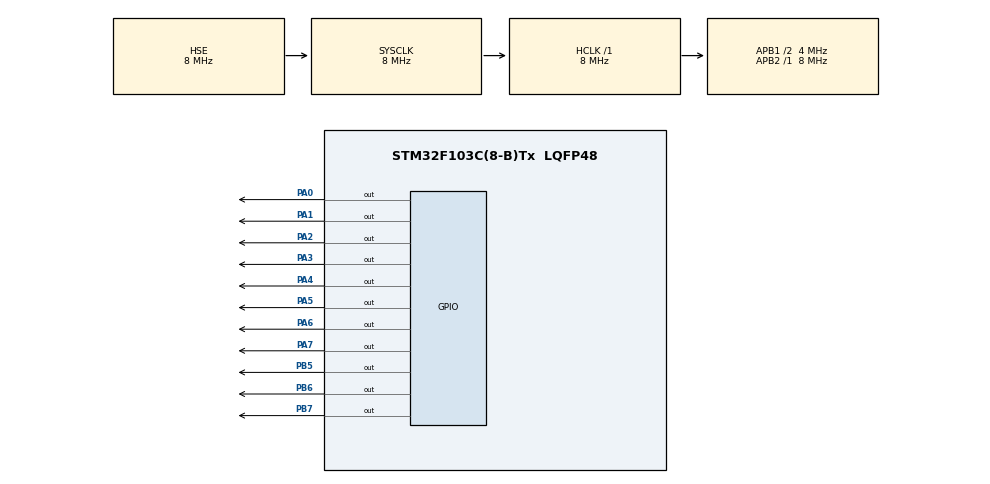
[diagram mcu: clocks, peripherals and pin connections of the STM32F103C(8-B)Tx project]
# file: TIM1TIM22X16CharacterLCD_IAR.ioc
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Mcu.Family=STM32F1
Mcu.Name=STM32F103C(8-B)Tx
Mcu.Package=LQFP48
NVIC.PriorityGroup=NVIC_PRIORITYGROUP_4
NVIC.TIM1_UP_IRQn=true\:0\:0\:false\:false\:true\:true\:true\:true
NVIC.TIM2_IRQn=true\:0\:0\:false\:false\:true\:true\:true\:true
PA0-WKUP.Signal=GPIO_Output
PA1.Signal=GPIO_Output
PA13.Mode=Serial_Wire
PA13.Signal=SYS_JTMS-SWDIO
PA14.Mode=Serial_Wire
PA14.Signal=SYS_JTCK-SWCLK
PA2.Signal=GPIO_Output
PA3.Signal=GPIO_Output
PA4.Signal=GPIO_Output
PA5.Signal=GPIO_Output
PA6.Signal=GPIO_Output
PA7.Signal=GPIO_Output
PB5.Signal=GPIO_Output
PB6.Signal=GPIO_Output
PB7.Signal=GPIO_Output
PD0-OSC_IN.Mode=HSE-External-Oscillator
PD0-OSC_IN.Signal=RCC_OSC_IN
PD1-OSC_OUT.Mode=HSE-External-Oscillator
PD1-OSC_OUT.Signal=RCC_OSC_OUT
ProjectManager.HeapSize=0x200
ProjectManager.StackSize=0x400
ProjectManager.TargetToolchain=EWARM V8.32
RCC.AHBFreq_Value=8000000
RCC.APB1CLKDivider=RCC_HCLK_DIV2
RCC.APB1Freq_Value=4000000
RCC.APB1TimFreq_Value=8000000
RCC.APB2Freq_Value=8000000
RCC.APB2TimFreq_Value=8000000
RCC.HCLKFreq_Value=8000000
RCC.PLLMUL=RCC_PLL_MUL9
RCC.PLLSourceVirtual=RCC_PLLSOURCE_HSE
RCC.SYSCLKFreq_VALUE=8000000
RCC.SYSCLKSource=RCC_SYSCLKSOURCE_HSE
RCC.USBFreq_Value=72000000
TIM1.Period=999
TIM1.Prescaler=7999
TIM2.Period=249
TIM2.Prescaler=7999
VP_TIM1_VS_ClockSourceINT.Mode=Internal
VP_TIM2_VS_ClockSourceINT.Mode=Internal
board=custom

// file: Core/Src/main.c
/* USER CODE BEGIN Header */
/**
  ******************************************************************************
  * @file           : main.c
  * @brief          : Main program body
  ******************************************************************************
  * @attention
  *
  * Copyright (c) 2023 STMicroelectronics.
  * All rights reserved.
  *
  * This software is licensed under terms that can be found in the LICENSE file
  * in the root directory of this software component.
  * If no LICENSE file comes with this software, it is provided AS-IS.
  *
  ******************************************************************************
  */
/* USER CODE END Header */
#include "main.h"

/* USER CODE BEGIN Includes */

#include <stdio.h>
#include "LCD/lcd.h"

/* USER CODE END Includes */

TIM_HandleTypeDef htim1;
TIM_HandleTypeDef htim2;

void SystemClock_Config(void);
static void MX_GPIO_Init(void);
static void MX_TIM1_Init(void);
static void MX_TIM2_Init(void);

/* USER CODE BEGIN 0 */

int t1, t2;

/* USER CODE END 0 */

int main(void)
{
  /* USER CODE BEGIN 1 */

  char str[17];

  /* USER CODE END 1 */

  /* MCU Configuration--------------------------------------------------------*/

  /* Reset of all peripherals, Initializes the Flash interface and the Systick. */
  HAL_Init();

  /* Configure the system clock */
  SystemClock_Config();

  /* Initialize all configured peripherals */
  MX_GPIO_Init();
  MX_TIM1_Init();
  MX_TIM2_Init();
  /* USER CODE BEGIN 2 */

  lcd_init();
  lcd_clear();

  lcd_gotoxy(0,0);
  lcd_puts("  dibadigital  ");
  HAL_Delay(2000);
  lcd_clear();

  HAL_TIM_Base_Start_IT(&htim1);
  HAL_TIM_Base_Start_IT(&htim2);

  /* USER CODE END 2 */

  /* Infinite loop */
  /* USER CODE BEGIN WHILE */
  while (1)
  {
    sprintf(str,"T1= %03d",t1);
    lcd_gotoxy(0, 0);
    lcd_puts(str);

    sprintf(str,"T2= %03d",t2);
    lcd_gotoxy(0, 1);
    lcd_puts(str);

    /* USER CODE END WHILE */

  }
}

void SystemClock_Config(void)
{
  RCC_OscInitTypeDef RCC_OscInitStruct = {0};
  RCC_ClkInitTypeDef RCC_ClkInitStruct = {0};

  /** Initializes the RCC Oscillators according to the specified parameters
  * in the RCC_OscInitTypeDef structure.
  */
  RCC_OscInitStruct.OscillatorType = RCC_OSCILLATORTYPE_HSE;
  RCC_OscInitStruct.HSEState = RCC_HSE_ON;
  RCC_OscInitStruct.PLL.PLLState = RCC_PLL_NONE;
  if (HAL_RCC_OscConfig(&RCC_OscInitStruct) != HAL_OK)
  {
    Error_Handler();
  }

  /** Initializes the CPU, AHB and APB buses clocks
  */
  RCC_ClkInitStruct.ClockType = RCC_CLOCKTYPE_HCLK|RCC_CLOCKTYPE_SYSCLK
                              |RCC_CLOCKTYPE_PCLK1|RCC_CLOCKTYPE_PCLK2;
  RCC_ClkInitStruct.SYSCLKSource = RCC_SYSCLKSOURCE_HSE;
  RCC_ClkInitStruct.AHBCLKDivider = RCC_SYSCLK_DIV1;
  RCC_ClkInitStruct.APB1CLKDivider = RCC_HCLK_DIV2;
  RCC_ClkInitStruct.APB2CLKDivider = RCC_HCLK_DIV1;

  if (HAL_RCC_ClockConfig(&RCC_ClkInitStruct, FLASH_LATENCY_0) != HAL_OK)
  {
    Error_Handler();
  }
}

static void MX_TIM1_Init(void)
{

  TIM_ClockConfigTypeDef sClockSourceConfig = {0};
  TIM_MasterConfigTypeDef sMasterConfig = {0};

  htim1.Instance = TIM1;
  htim1.Init.Prescaler = 7999;
  htim1.Init.CounterMode = TIM_COUNTERMODE_UP;
  htim1.Init.Period = 999;
  htim1.Init.ClockDivision = TIM_CLOCKDIVISION_DIV1;
  htim1.Init.RepetitionCounter = 0;
  htim1.Init.AutoReloadPreload = TIM_AUTORELOAD_PRELOAD_DISABLE;
  if (HAL_TIM_Base_Init(&htim1) != HAL_OK)
  {
    Error_Handler();
  }
  sClockSourceConfig.ClockSource = TIM_CLOCKSOURCE_INTERNAL;
  if (HAL_TIM_ConfigClockSource(&htim1, &sClockSourceConfig) != HAL_OK)
  {
    Error_Handler();
  }
  sMasterConfig.MasterOutputTrigger = TIM_TRGO_RESET;
  sMasterConfig.MasterSlaveMode = TIM_MASTERSLAVEMODE_DISABLE;
  if (HAL_TIMEx_MasterConfigSynchronization(&htim1, &sMasterConfig) != HAL_OK)
  {
    Error_Handler();
  }

}

static void MX_TIM2_Init(void)
{

  TIM_ClockConfigTypeDef sClockSourceConfig = {0};
  TIM_MasterConfigTypeDef sMasterConfig = {0};

  htim2.Instance = TIM2;
  htim2.Init.Prescaler = 7999;
  htim2.Init.CounterMode = TIM_COUNTERMODE_UP;
  htim2.Init.Period = 249;
  htim2.Init.ClockDivision = TIM_CLOCKDIVISION_DIV1;
  htim2.Init.AutoReloadPreload = TIM_AUTORELOAD_PRELOAD_DISABLE;
  if (HAL_TIM_Base_Init(&htim2) != HAL_OK)
  {
    Error_Handler();
  }
  sClockSourceConfig.ClockSource = TIM_CLOCKSOURCE_INTERNAL;
  if (HAL_TIM_ConfigClockSource(&htim2, &sClockSourceConfig) != HAL_OK)
  {
    Error_Handler();
  }
  sMasterConfig.MasterOutputTrigger = TIM_TRGO_RESET;
  sMasterConfig.MasterSlaveMode = TIM_MASTERSLAVEMODE_DISABLE;
  if (HAL_TIMEx_MasterConfigSynchronization(&htim2, &sMasterConfig) != HAL_OK)
  {
    Error_Handler();
  }

}

static void MX_GPIO_Init(void)
{
  GPIO_InitTypeDef GPIO_InitStruct = {0};

  /* GPIO Ports Clock Enable */
  __HAL_RCC_GPIOD_CLK_ENABLE();
  __HAL_RCC_GPIOA_CLK_ENABLE();
  __HAL_RCC_GPIOB_CLK_ENABLE();

  /*Configure GPIO pin Output Level */
  HAL_GPIO_WritePin(GPIOA, GPIO_PIN_0|GPIO_PIN_1|GPIO_PIN_2|GPIO_PIN_3
                          |GPIO_PIN_4|GPIO_PIN_5|GPIO_PIN_6|GPIO_PIN_7, GPIO_PIN_RESET);

  /*Configure GPIO pin Output Level */
  HAL_GPIO_WritePin(GPIOB, GPIO_PIN_5|GPIO_PIN_6|GPIO_PIN_7, GPIO_PIN_RESET);

  /*Configure GPIO pins : PA0 PA1 PA2 PA3
                           PA4 PA5 PA6 PA7 */
  GPIO_InitStruct.Pin = GPIO_PIN_0|GPIO_PIN_1|GPIO_PIN_2|GPIO_PIN_3
                          |GPIO_PIN_4|GPIO_PIN_5|GPIO_PIN_6|GPIO_PIN_7;
  GPIO_InitStruct.Mode = GPIO_MODE_OUTPUT_PP;
  GPIO_InitStruct.Pull = GPIO_NOPULL;
  GPIO_InitStruct.Speed = GPIO_SPEED_FREQ_LOW;
  HAL_GPIO_Init(GPIOA, &GPIO_InitStruct);

  /*Configure GPIO pins : PB5 PB6 PB7 */
  GPIO_InitStruct.Pin = GPIO_PIN_5|GPIO_PIN_6|GPIO_PIN_7;
  GPIO_InitStruct.Mode = GPIO_MODE_OUTPUT_PP;
  GPIO_InitStruct.Pull = GPIO_NOPULL;
  GPIO_InitStruct.Speed = GPIO_SPEED_FREQ_LOW;
  HAL_GPIO_Init(GPIOB, &GPIO_InitStruct);

}

void Error_Handler(void)
{
  __disable_irq();
  while (1)
  {
  }
}
